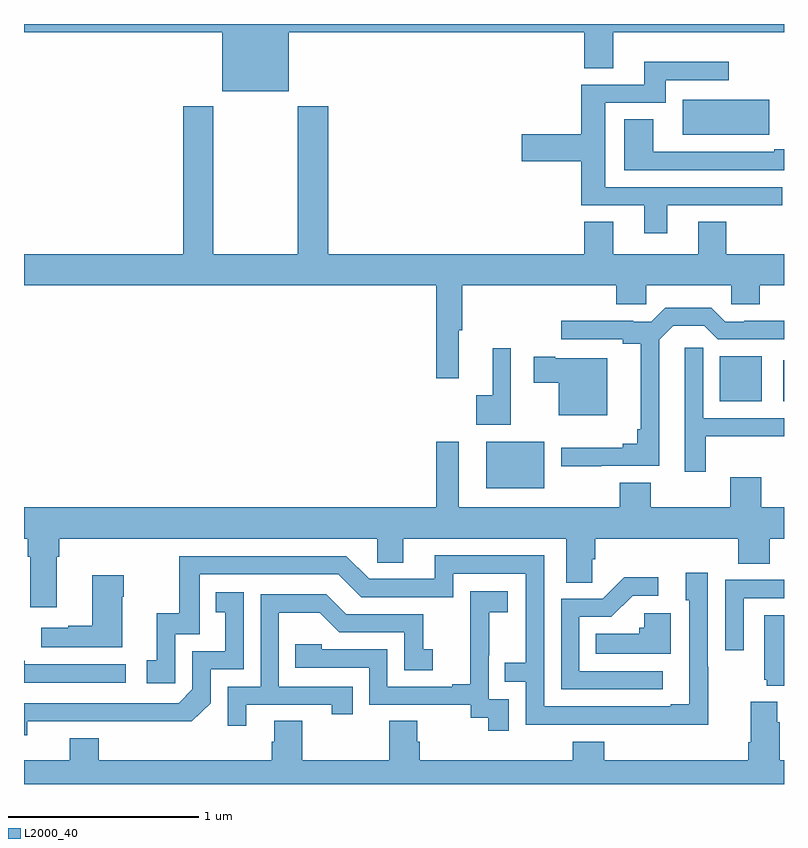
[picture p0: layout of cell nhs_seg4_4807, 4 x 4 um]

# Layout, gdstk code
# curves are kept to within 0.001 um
import gdstk
lib = gdstk.Library(unit=1e-6, precision=1e-09)
def R(c, l, rs):  # rectangles x0, y0, x1, y1
    for r in rs: c.add(gdstk.rectangle(r[:2], r[2:], *l))
def P(c, l, *ps):  # polygons
    for p in ps: c.add(gdstk.Polygon(p, *l))
L2000_40 = (2000, 40)

nhs_seg4_4807 = lib.new_cell('nhs_seg4_4807')
R(nhs_seg4_4807, L2000_40, [(373.433,758.456,373.738,758.701), (374.663,758.915,374.884,759.151), (374.996,758.915,375,759.13)])
P(nhs_seg4_4807, L2000_40, [(372.394,760.856),(373.949,760.856),(373.949,760.666),(374.101,760.666),(374.101,760.856),(375,760.856),(375,760.9),(371,760.9),(371,760.856),(372.044,760.856),(372.044,760.547),(372.394,760.547)],
  [(374.386,759.945),(374.992,759.945),(374.992,760.041),(374.059,760.041),(374.059,760.485),(374.377,760.485),(374.377,760.605),(374.71,760.605),(374.71,760.702),(374.264,760.702),(374.264,760.581),(373.934,760.581),(373.934,760.319),(373.62,760.319),(373.62,760.177),(373.934,760.177),(373.934,759.945),(374.264,759.945),(374.264,759.798),(374.386,759.798)],
  [(374.819,760.317),(374.922,760.317),(374.922,760.501),(374.468,760.501),(374.468,760.316),(374.819,760.316)],
  [(375,760.241),(374.948,760.241),(374.948,760.227),(374.311,760.227),(374.311,760.399),(374.159,760.399),(374.159,760.131),(375,760.131)],
  [(374.549,759.86),(374.549,759.688),(374.101,759.688),(374.101,759.86),(373.949,759.86),(373.949,759.688),(372.602,759.688),(372.602,760.468),(372.442,760.468),(372.442,759.688),(371.997,759.688),(371.997,760.468),(371.837,760.468),(371.837,759.688),(371,759.688),(371,759.524),(373.171,759.524),(373.171,759.036),(373.289,759.036),(373.289,759.288),(373.307,759.288),(373.307,759.524),(374.117,759.524),(374.117,759.426),(374.276,759.426),(374.276,759.524),(374.723,759.524),(374.723,759.426),(374.872,759.426),(374.872,759.524),(375,759.524),(375,759.688),(374.697,759.688),(374.697,759.86)],
  [(374.039,758.574),(374.344,758.574),(374.344,759.238),(374.417,759.311),(374.581,759.311),(374.652,759.24),(375,759.24),(375,759.338),(374.791,759.338),(374.791,759.333),(374.691,759.333),(374.618,759.406),(374.374,759.406),(374.301,759.333),(374.207,759.333),(374.207,759.338),(373.827,759.338),(373.827,759.24),(374.15,759.24),(374.15,759.218),(374.246,759.218),(374.246,758.767),(374.227,758.767),(374.227,758.69),(374.15,758.69),(374.15,758.671),(373.827,758.671),(373.827,758.573)],
  [(374.587,758.729),(374.966,758.729),(374.966,758.73),(375,758.73),(375,758.826),(374.574,758.826),(374.574,759.196),(374.477,759.196),(374.477,758.544),(374.587,758.544)],
  [(373.563,759.193),(373.466,759.193),(373.466,758.945),(373.38,758.945),(373.38,758.792),(373.563,758.792)],
  [(374.071,759.142),(373.795,759.142),(373.795,759.15),(373.683,759.15),(373.683,759.013),(373.814,759.013),(373.814,758.84),(374.071,758.84)],
  [(371.173,758.096),(371.186,758.096),(371.186,758.192),(372.858,758.192),(372.858,758.065),(372.997,758.065),(372.997,758.192),(373.853,758.192),(373.853,757.96),(373.992,757.96),(373.992,758.083),(374.006,758.083),(374.006,758.192),(374.759,758.192),(374.759,758.059),(374.924,758.059),(374.924,758.192),(375,758.192),(375,758.356),(374.881,758.356),(374.881,758.515),(374.717,758.515),(374.717,758.356),(374.299,758.356),(374.299,758.485),(374.135,758.485),(374.135,758.356),(373.288,758.356),(373.288,758.701),(373.171,758.701),(373.171,758.356),(371,758.356),(371,758.192),(371.021,758.192),(371.021,758.096),(371.033,758.096),(371.033,757.83),(371.173,757.83)],
  [(374.601,757.517),(374.598,757.517),(374.598,758.011),(374.483,758.011),(374.483,757.866),(374.502,757.866),(374.502,757.321),(374.405,757.321),(374.405,757.308),(373.737,757.308),(373.737,758.103),(373.163,758.103),(373.163,757.98),(372.816,757.98),(372.696,758.1),(371.817,758.1),(371.817,757.798),(371.699,757.798),(371.699,757.551),(371.646,757.551),(371.646,757.431),(371.796,757.431),(371.796,757.689),(371.925,757.689),(371.925,758.004),(372.654,758.004),(372.774,757.884),(373.26,757.884),(373.26,758.007),(373.641,758.007),(373.641,757.538),(373.531,757.538),(373.531,757.437),(373.641,757.437),(373.641,757.212),(374.601,757.211)],
  [(371.518,757.886),(371.526,757.886),(371.526,757.999),(371.36,757.999),(371.36,757.733),(371.234,757.733),(371.234,757.723),(371.091,757.723),(371.091,757.619),(371.518,757.619)],
  [(374.362,757.494),(373.923,757.494),(373.923,757.779),(374.092,757.779),(374.203,757.89),(374.338,757.89),(374.338,757.988),(374.159,757.988),(374.046,757.875),(373.827,757.875),(373.827,757.398),(374.362,757.398)],
  [(374.787,757.878),(375,757.878),(375,757.974),(374.691,757.974),(374.691,757.605),(374.787,757.605)],
  [(373.551,757.347),(373.446,757.347),(373.446,757.577),(373.448,757.577),(373.448,757.805),(373.546,757.805),(373.546,757.915),(373.348,757.915),(373.348,757.709),(373.349,757.709),(373.349,757.426),(373.253,757.426),(373.253,757.413),(372.912,757.413),(372.912,757.608),(372.567,757.608),(372.567,757.635),(372.427,757.635),(372.427,757.512),(372.816,757.512),(372.816,757.317),(373.35,757.317),(373.35,757.249),(373.443,757.249),(373.443,757.179),(373.551,757.179)],
  [(371.016,757.23),(371.884,757.229),(371.982,757.326),(371.982,757.503),(372.156,757.503),(372.156,757.909),(372.01,757.909),(372.01,757.803),(372.059,757.803),(372.059,757.599),(371.886,757.599),(371.886,757.398),(371.814,757.326),(371,757.326),(371,757.157),(371.016,757.157)],
  [(372.169,757.317),(372.62,757.317),(372.62,757.266),(372.731,757.266),(372.731,757.413),(372.342,757.413),(372.342,757.802),(372.556,757.802),(372.66,757.698),(373.002,757.698),(373.002,757.5),(373.15,757.5),(373.15,757.609),(373.101,757.609),(373.101,757.794),(372.697,757.794),(372.592,757.899),(372.246,757.899),(372.246,757.413),(372.072,757.413),(372.072,757.206),(372.169,757.206)],
  [(374.404,757.798),(374.265,757.798),(374.265,757.722),(374.239,757.722),(374.239,757.69),(374.008,757.69),(374.008,757.586),(374.404,757.586)],
  [(375,757.789),(374.897,757.789),(374.897,757.449),(374.909,757.449),(374.909,757.418),(375,757.418)],
  [(371.536,757.53),(371.003,757.53),(371.003,757.55),(371,757.55),(371,757.434),(371.536,757.434)],
  [(375,757.024),(374.978,757.024),(374.978,757.226),(374.965,757.226),(374.965,757.333),(374.825,757.333),(374.825,757.12),(374.813,757.12),(374.813,757.024),(374.054,757.024),(374.054,757.123),(373.889,757.123),(373.889,757.024),(373.082,757.024),(373.082,757.122),(373.069,757.122),(373.069,757.232),(372.922,757.232),(372.922,757.024),(372.465,757.024),(372.465,757.232),(372.317,757.232),(372.317,757.122),(372.305,757.122),(372.305,757.024),(371.393,757.024),(371.393,757.141),(371.24,757.141),(371.24,757.024),(371,757.024),(371,756.9),(375,756.9)])

lib.write_gds('nhs_seg4_4807.gds')
